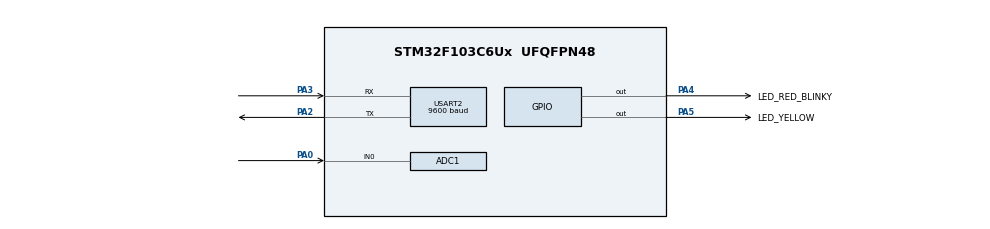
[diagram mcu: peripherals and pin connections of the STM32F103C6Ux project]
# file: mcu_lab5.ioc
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ADC1.Channel-0\#ChannelRegularConversion=ADC_CHANNEL_0
ADC1.ContinuousConvMode=ENABLE
ADC1.NbrOfConversionFlag=1
ADC1.Rank-0\#ChannelRegularConversion=1
ADC1.SamplingTime-0\#ChannelRegularConversion=ADC_SAMPLETIME_1CYCLE_5
ADC1.master=1
Mcu.Family=STM32F1
Mcu.Name=STM32F103C6Ux
Mcu.Package=UFQFPN48
NVIC.PriorityGroup=NVIC_PRIORITYGROUP_4
NVIC.TIM2_IRQn=true\:0\:0\:false\:false\:true\:true\:true\:true
NVIC.USART2_IRQn=true\:0\:0\:false\:false\:true\:true\:true\:true
PA0-WKUP.Signal=ADCx_IN0
PA2.Mode=Asynchronous
PA2.Signal=USART2_TX
PA3.Mode=Asynchronous
PA3.Signal=USART2_RX
PA4.GPIO_Label=LED_RED_BLINKY
PA4.Signal=GPIO_Output
PA5.GPIO_Label=LED_YELLOW
PA5.Signal=GPIO_Output
ProjectManager.HeapSize=0x200
ProjectManager.StackSize=0x400
ProjectManager.TargetToolchain=STM32CubeIDE
RCC.APB1Freq_Value=8000000
RCC.APB2Freq_Value=8000000
SH.ADCx_IN0.0=ADC1_IN0,IN0
TIM2.Period=9
TIM2.Prescaler=7999
USART2.BaudRate=9600
USART2.VirtualMode=VM_ASYNC
VP_TIM2_VS_ClockSourceINT.Mode=Internal
board=custom

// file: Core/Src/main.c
/* USER CODE BEGIN Header */
/**
  ******************************************************************************
  * @file           : main.c
  * @brief          : Main program body
  ******************************************************************************
  * @attention
  *
  * Copyright (c) 2023 STMicroelectronics.
  * All rights reserved.
  *
  * This software is licensed under terms that can be found in the LICENSE file
  * in the root directory of this software component.
  * If no LICENSE file comes with this software, it is provided AS-IS.
  *
  ******************************************************************************
  */
/* USER CODE END Header */
#include "main.h"

/* USER CODE BEGIN Includes */
#include "scheduler.h"
#include "software_timer.h"
#include "global.h"
#include "fsm.h"
#include <stdio.h>
/* USER CODE END Includes */

ADC_HandleTypeDef hadc1;

TIM_HandleTypeDef htim2;

UART_HandleTypeDef huart2;

void SystemClock_Config(void);
static void MX_GPIO_Init(void);
static void MX_ADC1_Init(void);
static void MX_TIM2_Init(void);
static void MX_USART2_UART_Init(void);

/* USER CODE BEGIN 0 */
void HAL_UART_RxCpltCallback(UART_HandleTypeDef *huart){
	if(huart -> Instance == USART2){
		HAL_UART_Transmit (&huart2 , &temp, 1, 50);
		buffer[index_buffer++] = temp;
		if(index_buffer == MAX_BUFFER_SIZE) index_buffer = 0;
		buffer_flag = 1;
		HAL_UART_Receive_IT (&huart2 , &temp, 1);
	}
}
/* USER CODE END 0 */

int main(void)
{

  /* MCU Configuration--------------------------------------------------------*/

  /* Reset of all peripherals, Initializes the Flash interface and the Systick. */
  HAL_Init();

  /* Configure the system clock */
  SystemClock_Config();

  /* Initialize all configured peripherals */
  MX_GPIO_Init();
  MX_ADC1_Init();
  MX_TIM2_Init();
  MX_USART2_UART_Init();
  /* USER CODE BEGIN 2 */
  HAL_TIM_Base_Start_IT(&htim2);
  HAL_UART_Receive_IT (&huart2 , &temp, 1);
  SCH_Init();
  /* USER CODE END 2 */

  /* Infinite loop */
  /* USER CODE BEGIN WHILE */
  SCH_Add_Task(timerRun, 0, 1);
  SCH_Add_Task(command_parser_fsm, 0, 1);
  SCH_Add_Task(uart_communication_fsm, 0, 1);
  SCH_Add_Task(ledBlinky, 0 ,1);
  while (1)
  {
    /* USER CODE END WHILE */
	  SCH_Dispatch_Tasks();
  }
}

void SystemClock_Config(void)
{
  RCC_OscInitTypeDef RCC_OscInitStruct = {0};
  RCC_ClkInitTypeDef RCC_ClkInitStruct = {0};
  RCC_PeriphCLKInitTypeDef PeriphClkInit = {0};

  /** Initializes the RCC Oscillators according to the specified parameters
  * in the RCC_OscInitTypeDef structure.
  */
  RCC_OscInitStruct.OscillatorType = RCC_OSCILLATORTYPE_HSI;
  RCC_OscInitStruct.HSIState = RCC_HSI_ON;
  RCC_OscInitStruct.HSICalibrationValue = RCC_HSICALIBRATION_DEFAULT;
  RCC_OscInitStruct.PLL.PLLState = RCC_PLL_NONE;
  if (HAL_RCC_OscConfig(&RCC_OscInitStruct) != HAL_OK)
  {
    Error_Handler();
  }

  /** Initializes the CPU, AHB and APB buses clocks
  */
  RCC_ClkInitStruct.ClockType = RCC_CLOCKTYPE_HCLK|RCC_CLOCKTYPE_SYSCLK
                              |RCC_CLOCKTYPE_PCLK1|RCC_CLOCKTYPE_PCLK2;
  RCC_ClkInitStruct.SYSCLKSource = RCC_SYSCLKSOURCE_HSI;
  RCC_ClkInitStruct.AHBCLKDivider = RCC_SYSCLK_DIV1;
  RCC_ClkInitStruct.APB1CLKDivider = RCC_HCLK_DIV1;
  RCC_ClkInitStruct.APB2CLKDivider = RCC_HCLK_DIV1;

  if (HAL_RCC_ClockConfig(&RCC_ClkInitStruct, FLASH_LATENCY_0) != HAL_OK)
  {
    Error_Handler();
  }
  PeriphClkInit.PeriphClockSelection = RCC_PERIPHCLK_ADC;
  PeriphClkInit.AdcClockSelection = RCC_ADCPCLK2_DIV2;
  if (HAL_RCCEx_PeriphCLKConfig(&PeriphClkInit) != HAL_OK)
  {
    Error_Handler();
  }
}

static void MX_ADC1_Init(void)
{

  ADC_ChannelConfTypeDef sConfig = {0};

  /** Common config
  */
  hadc1.Instance = ADC1;
  hadc1.Init.ScanConvMode = ADC_SCAN_DISABLE;
  hadc1.Init.ContinuousConvMode = ENABLE;
  hadc1.Init.DiscontinuousConvMode = DISABLE;
  hadc1.Init.ExternalTrigConv = ADC_SOFTWARE_START;
  hadc1.Init.DataAlign = ADC_DATAALIGN_RIGHT;
  hadc1.Init.NbrOfConversion = 1;
  if (HAL_ADC_Init(&hadc1) != HAL_OK)
  {
    Error_Handler();
  }

  /** Configure Regular Channel
  */
  sConfig.Channel = ADC_CHANNEL_0;
  sConfig.Rank = ADC_REGULAR_RANK_1;
  sConfig.SamplingTime = ADC_SAMPLETIME_1CYCLE_5;
  if (HAL_ADC_ConfigChannel(&hadc1, &sConfig) != HAL_OK)
  {
    Error_Handler();
  }

}

static void MX_TIM2_Init(void)
{

  TIM_ClockConfigTypeDef sClockSourceConfig = {0};
  TIM_MasterConfigTypeDef sMasterConfig = {0};

  htim2.Instance = TIM2;
  htim2.Init.Prescaler = 7999;
  htim2.Init.CounterMode = TIM_COUNTERMODE_UP;
  htim2.Init.Period = 9;
  htim2.Init.ClockDivision = TIM_CLOCKDIVISION_DIV1;
  htim2.Init.AutoReloadPreload = TIM_AUTORELOAD_PRELOAD_DISABLE;
  if (HAL_TIM_Base_Init(&htim2) != HAL_OK)
  {
    Error_Handler();
  }
  sClockSourceConfig.ClockSource = TIM_CLOCKSOURCE_INTERNAL;
  if (HAL_TIM_ConfigClockSource(&htim2, &sClockSourceConfig) != HAL_OK)
  {
    Error_Handler();
  }
  sMasterConfig.MasterOutputTrigger = TIM_TRGO_RESET;
  sMasterConfig.MasterSlaveMode = TIM_MASTERSLAVEMODE_DISABLE;
  if (HAL_TIMEx_MasterConfigSynchronization(&htim2, &sMasterConfig) != HAL_OK)
  {
    Error_Handler();
  }

}

static void MX_USART2_UART_Init(void)
{

  huart2.Instance = USART2;
  huart2.Init.BaudRate = 9600;
  huart2.Init.WordLength = UART_WORDLENGTH_8B;
  huart2.Init.StopBits = UART_STOPBITS_1;
  huart2.Init.Parity = UART_PARITY_NONE;
  huart2.Init.Mode = UART_MODE_TX_RX;
  huart2.Init.HwFlowCtl = UART_HWCONTROL_NONE;
  huart2.Init.OverSampling = UART_OVERSAMPLING_16;
  if (HAL_UART_Init(&huart2) != HAL_OK)
  {
    Error_Handler();
  }

}

static void MX_GPIO_Init(void)
{
  GPIO_InitTypeDef GPIO_InitStruct = {0};

  /* GPIO Ports Clock Enable */
  __HAL_RCC_GPIOA_CLK_ENABLE();

  /*Configure GPIO pin Output Level */
  HAL_GPIO_WritePin(GPIOA, LED_RED_BLINKY_Pin|LED_YELLOW_Pin, GPIO_PIN_RESET);

  /*Configure GPIO pins : LED_RED_BLINKY_Pin LED_YELLOW_Pin */
  GPIO_InitStruct.Pin = LED_RED_BLINKY_Pin|LED_YELLOW_Pin;
  GPIO_InitStruct.Mode = GPIO_MODE_OUTPUT_PP;
  GPIO_InitStruct.Pull = GPIO_NOPULL;
  GPIO_InitStruct.Speed = GPIO_SPEED_FREQ_LOW;
  HAL_GPIO_Init(GPIOA, &GPIO_InitStruct);

}

/* USER CODE BEGIN 4 */
void HAL_TIM_PeriodElapsedCallback(TIM_HandleTypeDef *htim) {
	SCH_Update();
}
/* USER CODE END 4 */

void Error_Handler(void)
{
  __disable_irq();
  while (1)
  {
  }
}
